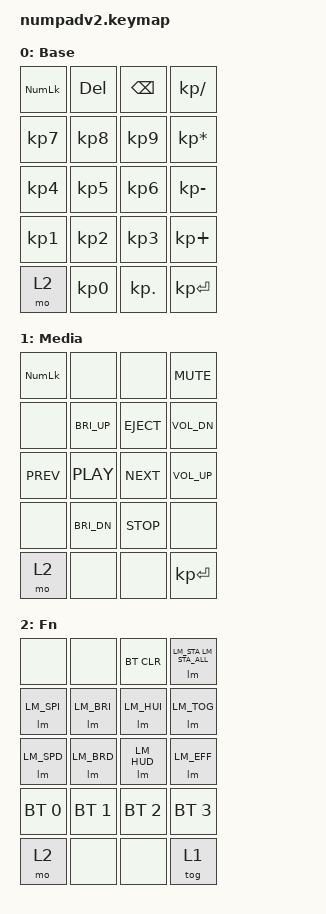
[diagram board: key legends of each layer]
/*
 * Copyright (c) 2021 Nick Winans
 *
 * SPDX-License-Identifier: MIT
 */

#include <behaviors.dtsi>
#include <dt-bindings/zmk/keys.h>
#include <dt-bindings/zmk/bt.h>
#include <dt-bindings/zmk/outputs.h>
#include <dt-bindings/zmk/led_matrix.h>


&mt {
    tapping-term-ms = <200>;
};

&lt {
    tapping-term-ms = <200>;
};


/ {

    /* 
    behaviors {  
        htlk: hold_tap_layer_key {
            compatible = "zmk,behavior-hold-tap";
            #binding-cells = <2>;          
            tapping-term-ms = <200>;       
            flavor = "tap-preferred";    
            bindings = <&mo>, <&kp>;     
        };
    };
    */


    conditional_layers {
        compatible = "zmk,conditional-layers";
        tri_layer {
            if-layers = <4 6>;
            then-layer = <5>;
        };
    };

    behaviors {
        tog_on: toggle_layer_on_only {
            compatible = "zmk,behavior-toggle-layer";
            #binding-cells = <1>;
            display-name = "Toggle Layer On";
            toggle-mode = "on";
        };

		tog_off: toggle_layer_off_only {
            compatible = "zmk,behavior-toggle-layer";
            #binding-cells = <1>;
            display-name = "Toggle Layer Off";
            toggle-mode = "off";
        };
    };

    macros {
        m_w_zoom_in: w_zoom_in_macro {
            compatible = "zmk,behavior-macro";
            #binding-cells = <0>;       
            bindings = 
                <&macro_press &kp LCTRL>,        
                <&macro_tap &kp MINUS>,                  
                <&macro_release &kp LCTRL>;
        };

        m_w_zoom_out: w_zoom_out_macro {
            compatible = "zmk,behavior-macro";
            #binding-cells = <0>;       
            bindings = 
                <&macro_press &kp LCTRL>,        
                <&macro_tap &kp EQUAL>,                  
                <&macro_release &kp LCTRL>;
        };

        m_zoom_in: zoom_in_macro {
            compatible = "zmk,behavior-macro";
            #binding-cells = <0>;       
            bindings = 
                <&macro_press &kp LCMD>,        
                <&macro_tap &kp MINUS>,                  
                <&macro_release &kp LCMD>;
        };

        m_zoom_out: zoom_out_macro {
            compatible = "zmk,behavior-macro";
            #binding-cells = <0>;       
            bindings = 
                <&macro_press &kp LCMD>,        
                <&macro_tap &kp EQUAL>,                  
                <&macro_release &kp LCMD>;
        };

        switch_bt0: switch_to_bt_profile_0 {
            compatible = "zmk,behavior-macro";
            #binding-cells = <0>;
            bindings = <&bt BT_SEL 0>, <&tog_off 1>;
        };

        switch_bt1: switch_to_bt_profile_1 {
            compatible = "zmk,behavior-macro";
            #binding-cells = <0>;
            bindings = <&bt BT_SEL 1>, <&tog_on 1>;
        };

        switch_bt2: switch_to_bt_profile_2 {
            compatible = "zmk,behavior-macro";
            #binding-cells = <0>;
            bindings = <&bt BT_SEL 2>, <&tog_off 1>;
        };

        switch_bt3: switch_to_bt_profile_3 {
            compatible = "zmk,behavior-macro";
            #binding-cells = <0>;
            bindings = <&bt BT_SEL 3>, <&tog_off 1>;
        };


    };

    behaviors {
        gresc: grave_escape {
            compatible = "zmk,behavior-mod-morph";
            #binding-cells = <0>;
            bindings = <&kp ESC>, <&kp GRAVE>;
            mods = <(MOD_LSFT|MOD_RSFT)>;
        };
    };

	keymap {
		compatible = "zmk,keymap";
		
		default_layer {
// ------------------------------------
// | NumLck |   DEL |   BS  |    /  | 
// |    7   |   8   |   9   |    x  |
// |    4   |   5   |   6   |    -  |
// |    1   |   2   |   3   |    +  |
// |  MO(1) |   .   |   0   |    =  |
// ------------------------------------
			display-name = "Base";
			//0
			bindings = <
	&kp KP_NLCK  &kp DEL        &kp BSPC         &kp KP_DIVIDE
	&kp KP_N7    &kp KP_N8      &kp KP_N9        &kp KP_MULTIPLY
	&kp KP_N4    &kp KP_N5      &kp KP_N6        &kp KP_MINUS 
	&kp KP_N1    &kp KP_N2      &kp KP_N3        &kp KP_PLUS  
	&mo 2        &kp KP_N0      &kp KP_DOT       &kp KP_ENTER
			>;
		};

		media_layer {
// ------------------------------------
// | NumLck | 	    | 	    | 	Mute	| 
// |        |In Bri	|Eject	|Volume Down|
// |Previous|Play/PS| Next	|Volume Up	|
// |        |De Bri	|  Stop | 	   		|
// |  MO(1) |       |       |   ENT 	|
// ------------------------------------
			display-name = "Media";  
			//1
			bindings = <
	&kp KP_NLCK  &none         &none            &kp C_MUTE 
	&none        &kp C_BRI_UP  &kp C_EJECT      &kp C_VOL_DN 
	&kp C_PREV   &kp C_PLAY    &kp C_NEXT       &kp C_VOL_UP 
	&none        &kp C_BRI_DN  &kp C_STOP       &none 
	&mo 2        &none         &none            &kp KP_ENTER
				>;
			};

		func_layer {
// --------------------------------------
// |        |        | BT CLR |        | 
// | LM_SPI | LM_HUI | LM_BRI | LM_TOG| 
// | LM_SPD | LM_HUD | LM_BRD | LM_EFF| 
// |  BT 0  |  BT 1  |  BT 2  |  BT 2  | 
// |  MO(1) |        |        | tog 1  |
// --------------------------------------
			display-name = "Fn";
			//2
			bindings = <
	&none 			&none 			&bt BT_CLR      	&lm LM_STA LM_STA_ALL
	&lm LM_SPI      &lm LM_BRI      &lm LM_HUI          &lm LM_TOG
	&lm LM_SPD      &lm LM_BRD      &lm LM_HUD          &lm LM_EFF
	&bt BT_SEL 0 	&bt BT_SEL 1 	&bt BT_SEL 2 		&bt BT_SEL 3 
	&mo 2       	&none 			&none				&tog 1
			>;
		};
	};
};
